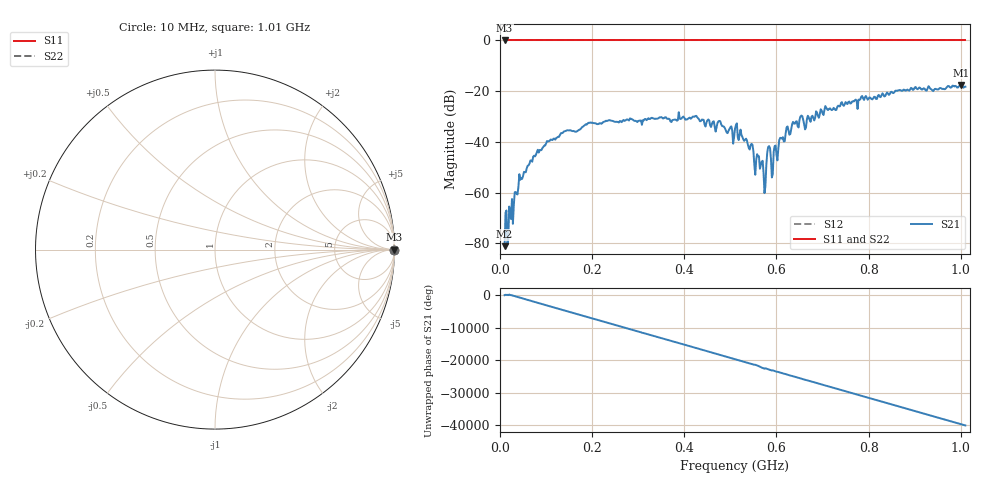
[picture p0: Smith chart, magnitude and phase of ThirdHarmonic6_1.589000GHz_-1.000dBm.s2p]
! 8/16/2025 6:55:45 PM
! C:\ANRITSUVNA\TEMP\TEMP.S2P
! CHANNEL.1
! TR.MEASUREMENT
! RAW.DATA
! RF.CORRECTION.OFF
! AVERAGING.OFF
! IF.BANDWIDTH: 5KHZ
! SWEEPTYPE:  FREQ.SWEEP(Linear)
! Reference Plane Port Info
! PORT:  PORT1  PORT2
! DISTANCE:  0  m  0  m
! TIME:  0  s  0  s
! PHASE.OFFSET:  0  deg.  0  deg.
! LOSS:  0  dB  0  dB
! REF.LOSS:  0  dB  0  dB
! REF.FREQ:  0  Hz  0  Hz
! Power Info
! POWER:  -20  dBm  -20  dBm
! EFF.POWER:  -20  dBm  -20  dBm
! SOURCE.ATTEN:  0  dB  0  dB
! TEST.ATTEN:  0  dB  0  dB
# GHZ S RI R 50.0
! FREQ.GHZ  S11RE  S11IM  S21RE  S21IM  S12RE  S12IM  S22RE  S22IM
!; PortSelection: Port_12
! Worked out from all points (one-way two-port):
!   501 points, 10 MHz to 1.01 GHz, reference 50 ohm
!   highest |S21| = -17.59 dB at 1 GHz (marker M1); lowest = -81.1 dB at 10 MHz (marker M2)
!   lowest |S11| = 0.0 dB at 10 MHz (marker M3)
!   |S11| at or under -10 dB: nowhere
!   |S22| runs from 0.0 to 0.0 dB; largest |S21 - S12| = 1.1
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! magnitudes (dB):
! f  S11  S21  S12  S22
! 10 MHz  0.0  -81.1  0.0  0.0
! 20 MHz  0.0  -65.5  0.0  0.0
! 44 MHz  0.0  -55.0  0.0  0.0
! 78 MHz  0.0  -45.1  0.0  0.0
! 136 MHz  0.0  -36.5  0.0  0.0
! 178 MHz  0.0  -34.2  0.0  0.0
! 344 MHz  0.0  -30.7  0.0  0.0
! 424 MHz  0.0  -29.8  0.0  0.0
! 510 MHz  0.0  -34.8  0.0  0.0
! 546 MHz  0.0  -40.8  0.0  0.0
! 552 MHz  0.0  -49.2  0.0  0.0
! 566 MHz  0.0  -49.2  0.0  0.0
! 574 MHz  0.0  -60.2  0.0  0.0
! 584 MHz  0.0  -41.7  0.0  0.0
! 592 MHz  0.0  -52.7  0.0  0.0
! 610 MHz  0.0  -38.5  0.0  0.0
! 638 MHz  0.0  -32.8  0.0  0.0
! 678 MHz  0.0  -29.7  0.0  0.0
! 708 MHz  0.0  -26.5  0.0  0.0
! 844 MHz  0.0  -21.5  0.0  0.0
! 1 GHz  0.0  -17.6  0.0  0.0
! 1.01 GHz  0.0  -18.2  0.0  0.0
